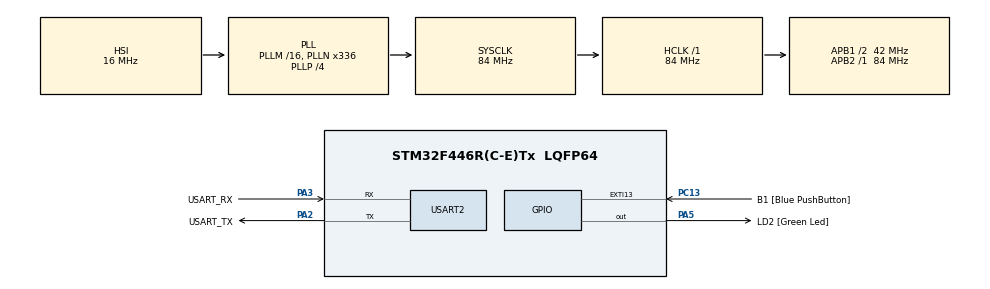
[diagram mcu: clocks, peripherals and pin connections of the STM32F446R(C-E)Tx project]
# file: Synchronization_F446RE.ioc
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FREERTOS.Tasks01=defaultTask,24,128,StartDefaultTask,Default,NULL,Dynamic,NULL,NULL
Mcu.Family=STM32F4
Mcu.Name=STM32F446R(C-E)Tx
Mcu.Package=LQFP64
NVIC.PriorityGroup=NVIC_PRIORITYGROUP_4
NVIC.TIM1_UP_TIM10_IRQn=true\:15\:0\:false\:false\:true\:false\:false\:true\:true
NVIC.TimeBase=TIM1_UP_TIM10_IRQn
NVIC.TimeBaseIP=TIM1
NVIC.USART2_IRQn=true\:5\:0\:false\:false\:true\:true\:true\:true\:true
PA13.GPIO_Label=TMS
PA13.Mode=Serial_Wire
PA13.Signal=SYS_JTMS-SWDIO
PA14.GPIO_Label=TCK
PA14.Mode=Serial_Wire
PA14.Signal=SYS_JTCK-SWCLK
PA2.GPIO_Label=USART_TX
PA2.Mode=Asynchronous
PA2.Signal=USART2_TX
PA3.GPIO_Label=USART_RX
PA3.Mode=Asynchronous
PA3.Signal=USART2_RX
PA5.GPIO_Label=LD2 [Green Led]
PA5.Signal=GPIO_Output
PB3.GPIO_Label=SWO
PB3.Signal=SYS_JTDO-SWO
PC13.GPIO_Label=B1 [Blue PushButton]
PC13.GPIO_ModeDefaultEXTI=GPIO_MODE_IT_FALLING
PC13.Signal=GPXTI13
PC14-OSC32_IN.Mode=LSE-External-Oscillator
PC14-OSC32_IN.Signal=RCC_OSC32_IN
PC15-OSC32_OUT.Mode=LSE-External-Oscillator
PC15-OSC32_OUT.Signal=RCC_OSC32_OUT
PH0-OSC_IN.Mode=HSE-External-Oscillator
PH0-OSC_IN.Signal=RCC_OSC_IN
PH1-OSC_OUT.Mode=HSE-External-Oscillator
PH1-OSC_OUT.Signal=RCC_OSC_OUT
ProjectManager.HeapSize=0x200
ProjectManager.StackSize=0x400
ProjectManager.TargetToolchain=STM32CubeIDE
RCC.48MHZClocksFreq_Value=84000000
RCC.AHBFreq_Value=84000000
RCC.APB1CLKDivider=RCC_HCLK_DIV2
RCC.APB1Freq_Value=42000000
RCC.APB1TimFreq_Value=84000000
RCC.APB2Freq_Value=84000000
RCC.APB2TimFreq_Value=84000000
RCC.CortexFreq_Value=84000000
RCC.FLatency-AdvancedSettings=FLASH_LATENCY_2
RCC.HCLKFreq_Value=84000000
RCC.HSE_VALUE=8000000
RCC.HSI_VALUE=16000000
RCC.PLLN=336
RCC.PLLP=RCC_PLLP_DIV4
RCC.SYSCLKFreq_VALUE=84000000
RCC.SYSCLKSource=RCC_SYSCLKSOURCE_PLLCLK
RCC.USBFreq_Value=168000000
RCC.VCOOutputFreq_Value=336000000
USART2.VirtualMode=VM_ASYNC
VP_FREERTOS_VS_CMSIS_V2.Mode=CMSIS_V2
VP_SYS_VS_tim1.Mode=TIM1
board=NUCLEO-F446RE

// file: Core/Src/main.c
/* USER CODE BEGIN Header */
/**
  ******************************************************************************
  * @file           : main.c
  * @brief          : Main program body
  ******************************************************************************
  * @attention
  *
  * Copyright (c) 2022 STMicroelectronics.
  * All rights reserved.
  *
  * This software is licensed under terms that can be found in the LICENSE file
  * in the root directory of this software component.
  * If no LICENSE file comes with this software, it is provided AS-IS.
  *
  ******************************************************************************
  */
/* USER CODE END Header */
#include "main.h"
#include "cmsis_os.h"
#include "usart.h"
#include "gpio.h"

/* USER CODE BEGIN Includes */
#include <string.h>
#include <stdio.h>
#include <stdarg.h>

#include "FreeRTOS.h"
#include "task.h"
#include "semphr.h"
/* USER CODE END Includes */

void SystemClock_Config(void);
void MX_FREERTOS_Init(void);

/* USER CODE BEGIN 0 */
static char string_buffer[1024];
static size_t string_size;

SemaphoreHandle_t mutex;
SemaphoreHandle_t semaphore;

void task1();
void task2();
void task3();
void task4();

void my_printf(const char* format, ...);

/* USER CODE END 0 */

int main(void)
{

  /* MCU Configuration--------------------------------------------------------*/

  /* Reset of all peripherals, Initializes the Flash interface and the Systick. */
  HAL_Init();

  /* Configure the system clock */
  SystemClock_Config();

  /* Initialize all configured peripherals */
  MX_GPIO_Init();
  MX_USART2_UART_Init();
  /* USER CODE BEGIN 2 */
#if 0
  /* USER CODE END 2 */

  /* Init scheduler */
  osKernelInitialize();  /* Call init function for freertos objects (in freertos.c) */
  MX_FREERTOS_Init();

  /* Start scheduler */
  osKernelStart();

  /* We should never get here as control is now taken by the scheduler */
  /* Infinite loop */
  /* USER CODE BEGIN WHILE */
#endif

#if 0
  mutex = xSemaphoreCreateMutex();
  xTaskCreate(task1, "task1", (configMINIMAL_STACK_SIZE) + 512u, NULL, (tskIDLE_PRIORITY) + 1u, NULL);
  xTaskCreate(task2, "task2", (configMINIMAL_STACK_SIZE) + 512u, NULL, (tskIDLE_PRIORITY) + 1u, NULL);

#else
  semaphore = xSemaphoreCreateBinary();
  xTaskCreate(task3, "task3", (configMINIMAL_STACK_SIZE) + 512u, NULL, (tskIDLE_PRIORITY) + 1u, NULL);
  xTaskCreate(task4, "task4", (configMINIMAL_STACK_SIZE) + 512u, NULL, (tskIDLE_PRIORITY) + 1u, NULL);
#endif

  vTaskStartScheduler();

  while (1)
  {
    /* USER CODE END WHILE */

  }
}

void SystemClock_Config(void)
{
  RCC_OscInitTypeDef RCC_OscInitStruct = {0};
  RCC_ClkInitTypeDef RCC_ClkInitStruct = {0};

  /** Configure the main internal regulator output voltage
  */
  __HAL_RCC_PWR_CLK_ENABLE();
  __HAL_PWR_VOLTAGESCALING_CONFIG(PWR_REGULATOR_VOLTAGE_SCALE3);

  /** Initializes the RCC Oscillators according to the specified parameters
  * in the RCC_OscInitTypeDef structure.
  */
  RCC_OscInitStruct.OscillatorType = RCC_OSCILLATORTYPE_HSI;
  RCC_OscInitStruct.HSIState = RCC_HSI_ON;
  RCC_OscInitStruct.HSICalibrationValue = RCC_HSICALIBRATION_DEFAULT;
  RCC_OscInitStruct.PLL.PLLState = RCC_PLL_ON;
  RCC_OscInitStruct.PLL.PLLSource = RCC_PLLSOURCE_HSI;
  RCC_OscInitStruct.PLL.PLLM = 16;
  RCC_OscInitStruct.PLL.PLLN = 336;
  RCC_OscInitStruct.PLL.PLLP = RCC_PLLP_DIV4;
  RCC_OscInitStruct.PLL.PLLQ = 2;
  RCC_OscInitStruct.PLL.PLLR = 2;
  if (HAL_RCC_OscConfig(&RCC_OscInitStruct) != HAL_OK)
  {
    Error_Handler();
  }

  /** Initializes the CPU, AHB and APB buses clocks
  */
  RCC_ClkInitStruct.ClockType = RCC_CLOCKTYPE_HCLK|RCC_CLOCKTYPE_SYSCLK
                              |RCC_CLOCKTYPE_PCLK1|RCC_CLOCKTYPE_PCLK2;
  RCC_ClkInitStruct.SYSCLKSource = RCC_SYSCLKSOURCE_PLLCLK;
  RCC_ClkInitStruct.AHBCLKDivider = RCC_SYSCLK_DIV1;
  RCC_ClkInitStruct.APB1CLKDivider = RCC_HCLK_DIV2;
  RCC_ClkInitStruct.APB2CLKDivider = RCC_HCLK_DIV1;

  if (HAL_RCC_ClockConfig(&RCC_ClkInitStruct, FLASH_LATENCY_2) != HAL_OK)
  {
    Error_Handler();
  }
}

/* USER CODE BEGIN 4 */

int val = 0;

void task1() {
	while(1) {
		//xSemaphoreTake(mutex, HAL_MAX_DELAY);
		my_printf("Hello from task1 \n");
		//xSemaphoreGive(mutex);
		vTaskDelay(1);
	}
}

void task2() {
	while(1) {
		//xSemaphoreTake(mutex, HAL_MAX_DELAY);
		my_printf("Hello from task2 \n");
		//xSemaphoreGive(mutex);
		vTaskDelay(1);
	}
}

void task3() {
	int counter = 0;
	while(1) {
		string_size = snprintf(string_buffer, 1024, "Counter value: %d \n", counter++);
		xSemaphoreGive(semaphore);
		vTaskDelay(100);
	}
}

void task4() {
	while(1) {
		xSemaphoreTake(semaphore, HAL_MAX_DELAY);
		my_printf(string_buffer);
	}
}

void my_printf(const char* format, ...)
{
	char buffer[1024];
	int size;

	va_list args;
	va_start (args, format);
	size = vsnprintf(buffer, sizeof(buffer), format, args);

	int index = 0;

	for (index = 0; index < size; index++) {
		while (HAL_UART_Transmit_IT(&huart2, (uint8_t*)(&buffer[index]), 1) == HAL_BUSY) {
			/* wait until char is sent */
		}
	}
	va_end (args);
}

/* USER CODE END 4 */

void HAL_TIM_PeriodElapsedCallback(TIM_HandleTypeDef *htim)
{
  if (htim->Instance == TIM1) {
    HAL_IncTick();
  }
}

void Error_Handler(void)
{
  __disable_irq();
  while (1)
  {
  }
}
